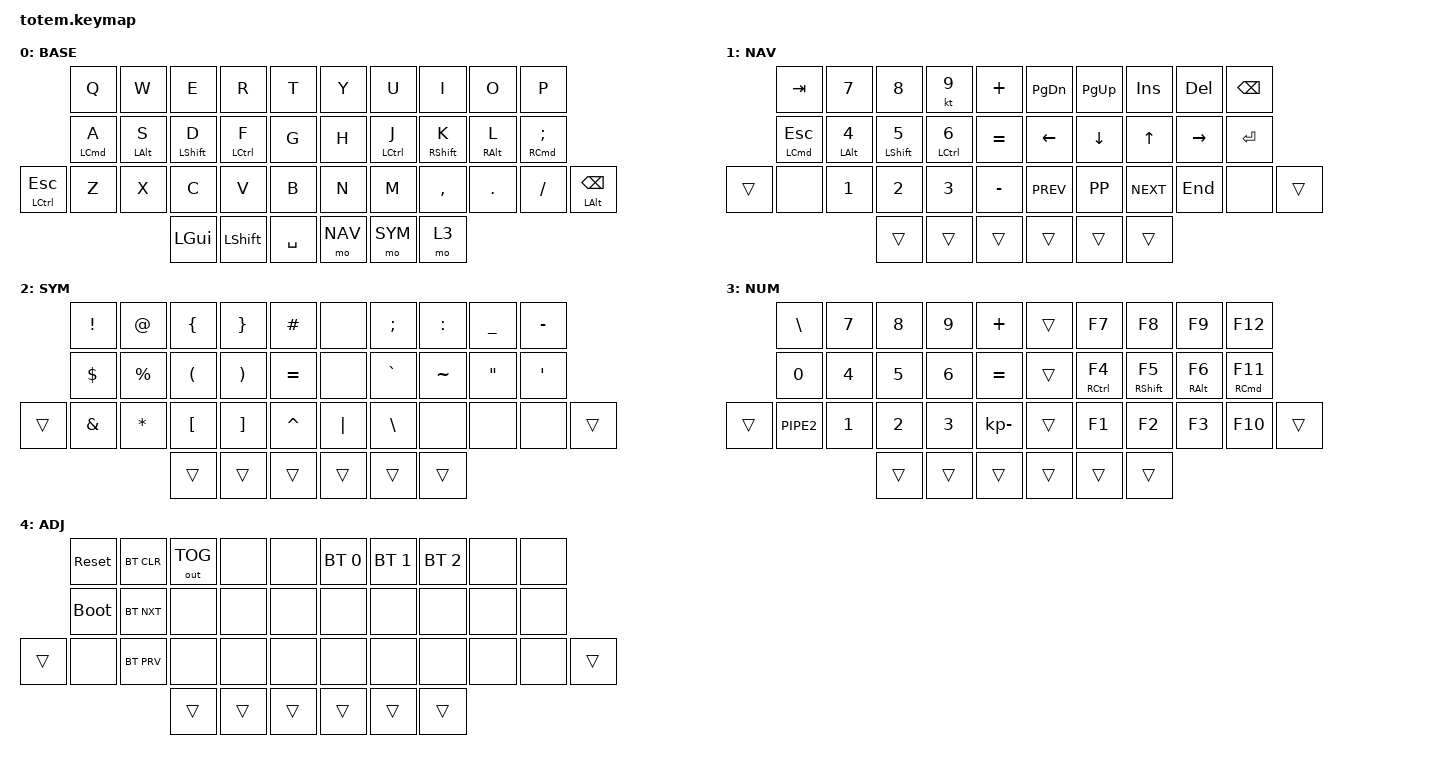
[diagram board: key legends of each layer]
//
//                                                        ▀▀▀▀▀     ▀▀▀▀▀          ▀▀█▀▀
//                                                        ▄▀▀▀▄  ▄  ▄▀▀▀▄  ▄  ▄▀▀▀▄  █  ▄▀▀▀▄
//                                                        █   █  █  █   █  █  █   █  █  █   █
//                                                         ▀▀▀   █   ▀▀▀   █   ▀▀▀   ▀   ▀▀▀
//                                                               █      ▄▄▄█▄▄▄    █   █  
//                                                               ▀      █  █  █     █▄█
//                                                             ▀▀▀▀▀    █  █  █      ▀
//                                                                      ▀  ▀  ▀
//
// ▄▄▄▄▄▄▄▄▄▄▄▄▄▄▄▄▄▄▄▄▄▄▄▄▄▄▄▄▄▄▄▄▄▄▄▄▄▄▄▄▄▄▄▄▄▄▄▄▄▄▄▄▄▄▄▄▄▄▄▄▄▄▄▄▄▄▄▄▄▄▄▄▄▄▄▄▄▄▄▄▄▄▄▄▄▄▄▄▄▄▄▄▄▄▄▄▄▄▄▄▄▄▄▄▄▄▄▄▄▄▄▄▄▄▄▄▄▄▄▄▄▄▄▄▄▄▄▄▄▄▄▄▄▄▄▄▄▄▄▄▄▄▄▄▄▄▄▄▄

#include <behaviors.dtsi>
#include <dt-bindings/zmk/bt.h>
#include <dt-bindings/zmk/keys.h>
#include <dt-bindings/zmk/outputs.h>

#define BASE 0
#define NAV  1
#define SYM  2
#define NUM  3
#define ADJ  4

/*                KEY POSITIONS
  ╭──────────────────────╮ ╭───────────────────────╮
  │      0   1   2   3  4│ │ 5   6   7   8   9     │
  │     10  11  12  13 14│ │15  16  17  18  19     │
  │ 20  21  22  23  24 25│ │26  27  28  29  30  31 │
  ╰─────────╮   32  33 34│ │35  36  37 ╭───────────╯
            ╰────────────╯ ╰───────────╯            */

/ {
    behaviors {
        shftcw: shift_capsword {
            compatible = "zmk,behavior-tap-dance";
            label = "SHIFT_CAPS_WORD";
            #binding-cells = <0>;
            tapping-term-ms = <200>;
            bindings = <&sk LSHIFT>, <&caps_word>;
        };

        hml: hml {
            compatible = "zmk,behavior-hold-tap";
            label = "HML";
            bindings = <&kp>, <&kp>;

            #binding-cells = <2>;
            tapping-term-ms = <280>;
            quick-tap-ms = <175>;
            require-prior-idle-ms = <120>;
            flavor = "balanced";
            hold-trigger-key-positions = <35 36 37 5 6 7 8 9 19 30 31 29 18 17 28 27 16 15 26>;
            hold-trigger-on-release;
        };

        hmr: hmr {
            compatible = "zmk,behavior-hold-tap";
            label = "HMR";
            bindings = <&kp>, <&kp>;

            #binding-cells = <2>;
            tapping-term-ms = <280>;
            quick-tap-ms = <175>;
            require-prior-idle-ms = <120>;
            flavor = "balanced";
            hold-trigger-key-positions = <32 34 33 4 0 1 2 3 4 10 11 12 13 14 22 23 24 21 20>;
            hold-trigger-on-release;
            hold-while-undecided;
        };
    };

    combos {
        compatible = "zmk,combos";

        combo_esc {
            timeout-ms = <50>;
            key-positions = <2 3>;
            bindings = <&kp ESC>;
            require-prior-idle-ms = <75>;
        };

        combo_tab {
            timeout-ms = <50>;
            key-positions = <23 24>;
            bindings = <&kp TAB>;
            require-prior-idle-ms = <75>;
        };

        combo_adj {
            timeout-ms = <50>;
            key-positions = <32 37>;
            bindings = <&mo ADJ>;
            require-prior-idle-ms = <75>;
        };

        combo_bspc {
            timeout-ms = <60>;
            key-positions = <6 7>;
            bindings = <&kp BSPC>;
            require-prior-idle-ms = <60>;
        };

        combo_ret {
            timeout-ms = <50>;
            key-positions = <27 28>;
            bindings = <&kp RET>;
            require-prior-idle-ms = <75>;
        };
    };

    keymap {
        compatible = "zmk,keymap";

        // ▄▄▄▄▄▄▄▄▄▄▄▄▄▄▄▄▄▄▄▄▄▄▄▄▄▄▄▄▄▄▄▄▄▄▄▄▄▄▄▄▄▄▄▄▄▄▄▄▄▄▄▄▄▄▄▄▄▄▄▄▄▄▄▄▄▄▄▄▄▄▄▄▄▄▄▄▄▄▄▄▄▄▄▄▄▄▄▄▄▄▄▄▄▄▄▄▄▄▄▄▄▄▄▄▄▄▄▄▄▄▄▄▄▄▄▄▄▄▄▄▄▄▄▄▄▄▄▄▄▄▄▄▄▄▄▄▄▄▄▄▄▄▄▄▄▄▄▄▄

        base_layer {
            // ┏━━━━━━━━━━━━━━━━━━━━━━━━━━━━━━━━━━━━━━━┓

            label = "BASE";

            // ┗━━━━━━━━━━━━━━━━━━━━━━━━━━━━━━━━━━━━━━━┛
            //             ┏━━━━━━━━━━━┳━━━━━━━━━━━┳━━━━━━━━━━━┳━━━━━━━━━━━┳━━━━━━━━━━━┓   ┏━━━━━━━━━━━┳━━━━━━━━━━━┳━━━━━━━━━━━┳━━━━━━━━━━━┳━━━━━━━━━━━┓
            //             ┃     Q     ┃     W     ┃     E     ┃     R     ┃     T     ┃   ┃     Y     ┃     U     ┃     I     ┃     O     ┃     P     ┃
            //             ┣━━━━━━━━━━━╋━━━━━━━━━━━╋━━━━━━━━━━━╋━━━━━━━━━━━╋━━━━━━━━━━━┫   ┣━━━━━━━━━━━╋━━━━━━━━━━━╋━━━━━━━━━━━╋━━━━━━━━━━━╋━━━━━━━━━━━┫
            //             ┃     A     ┃     S     ┃     D     ┃     F     ┃     G     ┃   ┃     H     ┃     J     ┃     K     ┃     L     ┃     ;     ┃
            // ┏━━━━━━━━━━━╋━━━━━━━━━━━╋━━━━━━━━━━━╋━━━━━━━━━━━╋━━━━━━━━━━━╋━━━━━━━━━━━┫   ┣━━━━━━━━━━━╋━━━━━━━━━━━╋━━━━━━━━━━━╋━━━━━━━━━━━╋━━━━━━━━━━━╋━━━━━━━━━━━┓
            // ┃ CLTR/ESC  ┃     Z     ┃     X     ┃     C     ┃     V     ┃     B     ┃   ┃     N     ┃     M     ┃     ,     ┃     .     ┃     /     ┃  ALT/BSPC ┃
            // ┗━━━━━━━━━━━┻━━━━━━━━━━━┻━━━━━━━━━━━╋━━━━━━━━━━━╋━━━━━━━━━━━╋━━━━━━━━━━━┫   ┣━━━━━━━━━━━╋━━━━━━━━━━━╋━━━━━━━━━━━╋━━━━━━━━━━━┻━━━━━━━━━━━┻━━━━━━━━━━━┛
            //                                     ┃    CMD    ┃   SHIFT   ┃    SPC    ┃   ┃   NAVI    ┃     SYM   ┃   NUM     ┃
            //                                     ┗━━━━━━━━━━━┻━━━━━━━━━━━┻━━━━━━━━━━━┛   ┗━━━━━━━━━━━┻━━━━━━━━━━━┻━━━━━━━━━━━┛

            bindings = <
               &kp Q        &kp W            &kp E          &kp R           &kp T        &kp Y    &kp U         &kp I         &kp O             &kp P
               &hml LCMD A  &hml LEFT_ALT S  &hml LSHIFT D  &hml LCTRL F    &kp G        &kp H    &hmr LCTRL J  &hmr RSHFT K  &hmr RIGHT_ALT L  &hmr RCMD SEMI
&mt LCTRL ESC  &kp Z        &kp X            &kp C          &kp V           &kp B        &kp N    &kp M         &kp COMMA     &kp DOT           &kp FSLH        &mt LALT BACKSPACE
                                             &kp LGUI       &kp LEFT_SHIFT  &kp SPACE    &mo NAV  &mo SYM       &mo 3
            >;
        };

        // ▄▄▄▄▄▄▄▄▄▄▄▄▄▄▄▄▄▄▄▄▄▄▄▄▄▄▄▄▄▄▄▄▄▄▄▄▄▄▄▄▄▄▄▄▄▄▄▄▄▄▄▄▄▄▄▄▄▄▄▄▄▄▄▄▄▄▄▄▄▄▄▄▄▄▄▄▄▄▄▄▄▄▄▄▄▄▄▄▄▄▄▄▄▄▄▄▄▄▄▄▄▄▄▄▄▄▄▄▄▄▄▄▄▄▄▄▄▄▄▄▄▄▄▄▄▄▄▄▄▄▄▄▄▄▄▄▄▄▄▄▄▄▄▄▄▄▄▄▄

        nav_layer {
            // ┏━━━━━━━━━━━━━━━━━━━━━━━━━━━━━━━━━━━━━━━┓

            label = "NAV";

            // ┗━━━━━━━━━━━━━━━━━━━━━━━━━━━━━━━━━━━━━━━┛
            //             ┏━━━━━━━━━━━┳━━━━━━━━━━━┳━━━━━━━━━━━┳━━━━━━━━━━━┳━━━━━━━━━━━┓   ┏━━━━━━━━━━━┳━━━━━━━━━━━┳━━━━━━━━━━━┳━━━━━━━━━━━┳━━━━━━━━━━━┓
            //             ┃   TAB     ┃           ┃           ┃           ┃  VOL UP   ┃   ┃  PGE DWN  ┃  PGE UP   ┃     INS   ┃    DEL    ┃    BSC    ┃
            //             ┣━━━━━━━━━━━╋━━━━━━━━━━━╋━━━━━━━━━━━╋━━━━━━━━━━━╋━━━━━━━━━━━┫   ┣━━━━━━━━━━━╋━━━━━━━━━━━╋━━━━━━━━━━━╋━━━━━━━━━━━╋━━━━━━━━━━━┫
            //             ┃   CMD     ┃   LALT    ┃   LCTRL   ┃   LSHFT   ┃  VOL DWN  ┃   ┃   LEFT    ┃    DOWN   ┃      UP   ┃  RIGHT    ┃    RET    ┃
            // ┏━━━━━━━━━━━╋━━━━━━━━━━━╋━━━━━━━━━━━╋━━━━━━━━━━━╋━━━━━━━━━━━╋━━━━━━━━━━━┫   ┣━━━━━━━━━━━╋━━━━━━━━━━━╋━━━━━━━━━━━╋━━━━━━━━━━━╋━━━━━━━━━━━╋━━━━━━━━━━━┓
            // ┃           ┃           ┃           ┃           ┃           ┃           ┃   ┃    PREV   ┃   PAUSE   ┃    NEXT   ┃  END      ┃           ┃           ┃
            // ┗━━━━━━━━━━━┻━━━━━━━━━━━┻━━━━━━━━━━━╋━━━━━━━━━━━╋━━━━━━━━━━━╋━━━━━━━━━━━┫   ┣━━━━━━━━━━━╋━━━━━━━━━━━╋━━━━━━━━━━━╋━━━━━━━━━━━┻━━━━━━━━━━━┻━━━━━━━━━━━┛
            //                                     ┃    ESC    ┃           ┃           ┃   ┃           ┃           ┃           ┃
            //                                     ┗━━━━━━━━━━━┻━━━━━━━━━━━┻━━━━━━━━━━━┛   ┗━━━━━━━━━━━┻━━━━━━━━━━━┻━━━━━━━━━━━┛

            bindings = <
        &kp TAB           &kp NUMBER_7        &kp NUMBER_8         &kt NUMBER_9         &kp PLUS     &kp PAGE_DOWN  &kp PAGE_UP  &kp INSERT  &kp DELETE  &kp BSPC
        &hml LCMD ESCAPE  &hml LALT NUMBER_4  &hml LSHFT NUMBER_5  &hml LCTRL NUMBER_6  &kp EQUAL    &kp LEFT       &kp DOWN     &kp UP      &kp RIGHT   &kp RET
&trans  &none             &kp NUMBER_1        &kp NUMBER_2         &kp NUMBER_3         &kp MINUS    &kp K_PREV     &kp K_PP     &kp K_NEXT  &kp END     &none     &trans
                                              &trans               &trans               &trans       &trans         &trans       &trans
            >;
        };

        // ▄▄▄▄▄▄▄▄▄▄▄▄▄▄▄▄▄▄▄▄▄▄▄▄▄▄▄▄▄▄▄▄▄▄▄▄▄▄▄▄▄▄▄▄▄▄▄▄▄▄▄▄▄▄▄▄▄▄▄▄▄▄▄▄▄▄▄▄▄▄▄▄▄▄▄▄▄▄▄▄▄▄▄▄▄▄▄▄▄▄▄▄▄▄▄▄▄▄▄▄▄▄▄▄▄▄▄▄▄▄▄▄▄▄▄▄▄▄▄▄▄▄▄▄▄▄▄▄▄▄▄▄▄▄▄▄▄▄▄▄▄▄▄▄▄▄▄▄▄

        sym_layer {
            // ┏━━━━━━━━━━━━━━━━━━━━━━━━━━━━━━━━━━━━━━━┓

            label = "SYM";

            // ┗━━━━━━━━━━━━━━━━━━━━━━━━━━━━━━━━━━━━━━━┛
            //             ┏━━━━━━━━━━━┳━━━━━━━━━━━┳━━━━━━━━━━━┳━━━━━━━━━━━┳━━━━━━━━━━━┓   ┏━━━━━━━━━━━┳━━━━━━━━━━━┳━━━━━━━━━━━┳━━━━━━━━━━━┳━━━━━━━━━━━┓
            //             ┃     !     ┃     @     ┃     {     ┃     }     ┃     %     ┃   ┃           ┃           ┃           ┃     _     ┃     -     ┃
            //             ┣━━━━━━━━━━━╋━━━━━━━━━━━╋━━━━━━━━━━━╋━━━━━━━━━━━╋━━━━━━━━━━━┫   ┣━━━━━━━━━━━╋━━━━━━━━━━━╋━━━━━━━━━━━╋━━━━━━━━━━━╋━━━━━━━━━━━┫
            //             ┃     $     ┃     %     ┃     (     ┃     )     ┃     =     ┃   ┃           ┃   `       ┃   ~       ┃     "     ┃     '     ┃
            // ┏━━━━━━━━━━━╋━━━━━━━━━━━╋━━━━━━━━━━━╋━━━━━━━━━━━╋━━━━━━━━━━━╋━━━━━━━━━━━┫   ┣━━━━━━━━━━━╋━━━━━━━━━━━╋━━━━━━━━━━━╋━━━━━━━━━━━╋━━━━━━━━━━━╋━━━━━━━━━━━┓
            // ┃           ┃     &     ┃     *     ┃     [     ┃     ]     ┃     ^     ┃   ┃     |     ┃      \    ┃           ┃           ┃           ┃           ┃
            // ┗━━━━━━━━━━━┻━━━━━━━━━━━┻━━━━━━━━━━━╋━━━━━━━━━━━╋━━━━━━━━━━━╋━━━━━━━━━━━┫   ┣━━━━━━━━━━━╋━━━━━━━━━━━╋━━━━━━━━━━━╋━━━━━━━━━━━┻━━━━━━━━━━━┻━━━━━━━━━━━┛
            //                                     ┃           ┃           ┃           ┃   ┃           ┃           ┃           ┃
            //                                     ┗━━━━━━━━━━━┻━━━━━━━━━━━┻━━━━━━━━━━━┛   ┗━━━━━━━━━━━┻━━━━━━━━━━━┻━━━━━━━━━━━┛

            bindings = <
        &kp EXCL  &kp AT     &kp LBRC  &kp RBRC  &kp HASH     &none     &kp SEMICOLON  &kp COLON  &kp UNDER  &kp MINUS
        &kp DLLR  &kp PRCNT  &kp LPAR  &kp RPAR  &kp EQUAL    &none     &kp GRAVE      &kp TILDE  &kp DQT    &kp SQT
&trans  &kp AMPS  &kp ASTRK  &kp LBKT  &kp RBKT  &kp CARET    &kp PIPE  &kp BSLH       &none      &none      &none      &trans
                             &trans    &trans    &trans       &trans    &trans         &trans
            >;
        };

        // ▄▄▄▄▄▄▄▄▄▄▄▄▄▄▄▄▄▄▄▄▄▄▄▄▄▄▄▄▄▄▄▄▄▄▄▄▄▄▄▄▄▄▄▄▄▄▄▄▄▄▄▄▄▄▄▄▄▄▄▄▄▄▄▄▄▄▄▄▄▄▄▄▄▄▄▄▄▄▄▄▄▄▄▄▄▄▄▄▄▄▄▄▄▄▄▄▄▄▄▄▄▄▄▄▄▄▄▄▄▄▄▄▄▄▄▄▄▄▄▄▄▄▄▄▄▄▄▄▄▄▄▄▄▄▄▄▄▄▄▄▄▄▄▄▄▄▄▄▄

        num_layer {
            // ┏━━━━━━━━━━━━━━━━━━━━━━━━━━━━━━━━━━━━━━━┓

            label = "NUM";

            // ┗━━━━━━━━━━━━━━━━━━━━━━━━━━━━━━━━━━━━━━━┛
            //             ┏━━━━━━━━━━━┳━━━━━━━━━━━┳━━━━━━━━━━━┳━━━━━━━━━━━┳━━━━━━━━━━━┓   ┏━━━━━━━━━━━┳━━━━━━━━━━━┳━━━━━━━━━━━┳━━━━━━━━━━━┳━━━━━━━━━━━┓
            //             ┃     \     ┃     7     ┃     8     ┃     9     ┃     +     ┃   ┃           ┃    F7     ┃    F8     ┃    F9     ┃    F12    ┃
            //             ┣━━━━━━━━━━━╋━━━━━━━━━━━╋━━━━━━━━━━━╋━━━━━━━━━━━╋━━━━━━━━━━━┫   ┣━━━━━━━━━━━╋━━━━━━━━━━━╋━━━━━━━━━━━╋━━━━━━━━━━━╋━━━━━━━━━━━┫
            //             ┃     0     ┃     4     ┃     5     ┃     6     ┃     =     ┃   ┃           ┃    F4     ┃    F5     ┃    F6     ┃    F11    ┃
            // ┏━━━━━━━━━━━╋━━━━━━━━━━━╋━━━━━━━━━━━╋━━━━━━━━━━━╋━━━━━━━━━━━╋━━━━━━━━━━━┫   ┣━━━━━━━━━━━╋━━━━━━━━━━━╋━━━━━━━━━━━╋━━━━━━━━━━━╋━━━━━━━━━━━╋━━━━━━━━━━━┓
            // ┃           ┃     |     ┃     1     ┃     2     ┃     3     ┃     -     ┃   ┃           ┃    F1     ┃    F2     ┃    F3     ┃    F10    ┃           ┃
            // ┗━━━━━━━━━━━┻━━━━━━━━━━━┻━━━━━━━━━━━╋━━━━━━━━━━━╋━━━━━━━━━━━╋━━━━━━━━━━━┫   ┣━━━━━━━━━━━╋━━━━━━━━━━━╋━━━━━━━━━━━╋━━━━━━━━━━━┻━━━━━━━━━━━┻━━━━━━━━━━━┛
            //                                     ┃           ┃           ┃           ┃   ┃           ┃           ┃           ┃
            //                                     ┗━━━━━━━━━━━┻━━━━━━━━━━━┻━━━━━━━━━━━┛   ┗━━━━━━━━━━━┻━━━━━━━━━━━┻━━━━━━━━━━━┛

            bindings = <
        &kp BSLH   &kp N7  &kp N8  &kp N9  &kp PLUS        &trans  &kp F7         &kp F8         &kp F9        &kp F12
        &kp N0     &kp N4  &kp N5  &kp N6  &kp EQUAL       &trans  &hmr RCTRL F4  &hmr RSHFT F5  &hmr RALT F6  &hmr RCMD F11
&trans  &kp PIPE2  &kp N1  &kp N2  &kp N3  &kp KP_MINUS    &trans  &kp F1         &kp F2         &kp F3        &kp F10        &trans
                           &trans  &trans  &trans          &trans  &trans         &trans
            >;
        };

        // ▄▄▄▄▄▄▄▄▄▄▄▄▄▄▄▄▄▄▄▄▄▄▄▄▄▄▄▄▄▄▄▄▄▄▄▄▄▄▄▄▄▄▄▄▄▄▄▄▄▄▄▄▄▄▄▄▄▄▄▄▄▄▄▄▄▄▄▄▄▄▄▄▄▄▄▄▄▄▄▄▄▄▄▄▄▄▄▄▄▄▄▄▄▄▄▄▄▄▄▄▄▄▄▄▄▄▄▄▄▄▄▄▄▄▄▄▄▄▄▄▄▄▄▄▄▄▄▄▄▄▄▄▄▄▄▄▄▄▄▄▄▄▄▄▄▄▄▄▄

        adjust_layer {
            // ┏━━━━━━━━━━━━━━━━━━━━━━━━━━━━━━━━━━━━━━━┓

            label = "ADJ";

            // ┗━━━━━━━━━━━━━━━━━━━━━━━━━━━━━━━━━━━━━━━┛
            //             ┏━━━━━━━━━━━┳━━━━━━━━━━━┳━━━━━━━━━━━┳━━━━━━━━━━━┳━━━━━━━━━━━┓   ┏━━━━━━━━━━━┳━━━━━━━━━━━┳━━━━━━━━━━━┳━━━━━━━━━━━┳━━━━━━━━━━━┓
            //             ┃   RESET   ┃ BT CLEAR  ┃  OUT TOG  ┃           ┃           ┃   ┃  BT SEL 0 ┃  BT SEL 1 ┃  BT SEL 2 ┃           ┃           ┃
            //             ┣━━━━━━━━━━━╋━━━━━━━━━━━╋━━━━━━━━━━━╋━━━━━━━━━━━╋━━━━━━━━━━━┫   ┣━━━━━━━━━━━╋━━━━━━━━━━━╋━━━━━━━━━━━╋━━━━━━━━━━━╋━━━━━━━━━━━┫
            //             ┃ BOOTLOAD  ┃ BT NEXT   ┃           ┃           ┃           ┃   ┃           ┃           ┃           ┃           ┃           ┃
            // ┏━━━━━━━━━━━╋━━━━━━━━━━━╋━━━━━━━━━━━╋━━━━━━━━━━━╋━━━━━━━━━━━╋━━━━━━━━━━━┫   ┣━━━━━━━━━━━╋━━━━━━━━━━━╋━━━━━━━━━━━╋━━━━━━━━━━━╋━━━━━━━━━━━╋━━━━━━━━━━━┓
            // ┃           ┃           ┃ BT PREV   ┃           ┃           ┃           ┃   ┃           ┃           ┃           ┃           ┃           ┃           ┃
            // ┗━━━━━━━━━━━┻━━━━━━━━━━━┻━━━━━━━━━━━╋━━━━━━━━━━━╋━━━━━━━━━━━╋━━━━━━━━━━━┫   ┣━━━━━━━━━━━╋━━━━━━━━━━━╋━━━━━━━━━━━╋━━━━━━━━━━━┻━━━━━━━━━━━┻━━━━━━━━━━━┛
            //                                     ┃           ┃           ┃           ┃   ┃           ┃           ┃           ┃
            //                                     ┗━━━━━━━━━━━┻━━━━━━━━━━━┻━━━━━━━━━━━┛   ┗━━━━━━━━━━━┻━━━━━━━━━━━┻━━━━━━━━━━━┛

            bindings = <
        &sys_reset   &bt BT_CLR  &out OUT_TOG  &none   &none     &bt BT_SEL 0  &bt BT_SEL 1  &bt BT_SEL 2  &none  &none
        &bootloader  &bt BT_NXT  &none         &none   &none     &none         &none         &none         &none  &none
&trans  &none        &bt BT_PRV  &none         &none   &none     &none         &none         &none         &none  &none  &trans
                                 &trans        &trans  &trans    &trans        &trans        &trans
            >;
        };

        // ▄▄▄▄▄▄▄▄▄▄▄▄▄▄▄▄▄▄▄▄▄▄▄▄▄▄▄▄▄▄▄▄▄▄▄▄▄▄▄▄▄▄▄▄▄▄▄▄▄▄▄▄▄▄▄▄▄▄▄▄▄▄▄▄▄▄▄▄▄▄▄▄▄▄▄▄▄▄▄▄▄▄▄▄▄▄▄▄▄▄▄▄▄▄▄▄▄▄▄▄▄▄▄▄▄▄▄▄▄▄▄▄▄▄▄▄▄▄▄▄▄▄▄▄▄▄▄▄▄▄▄▄▄▄▄▄▄▄▄▄▄▄▄▄▄▄▄▄▄
    };
};
